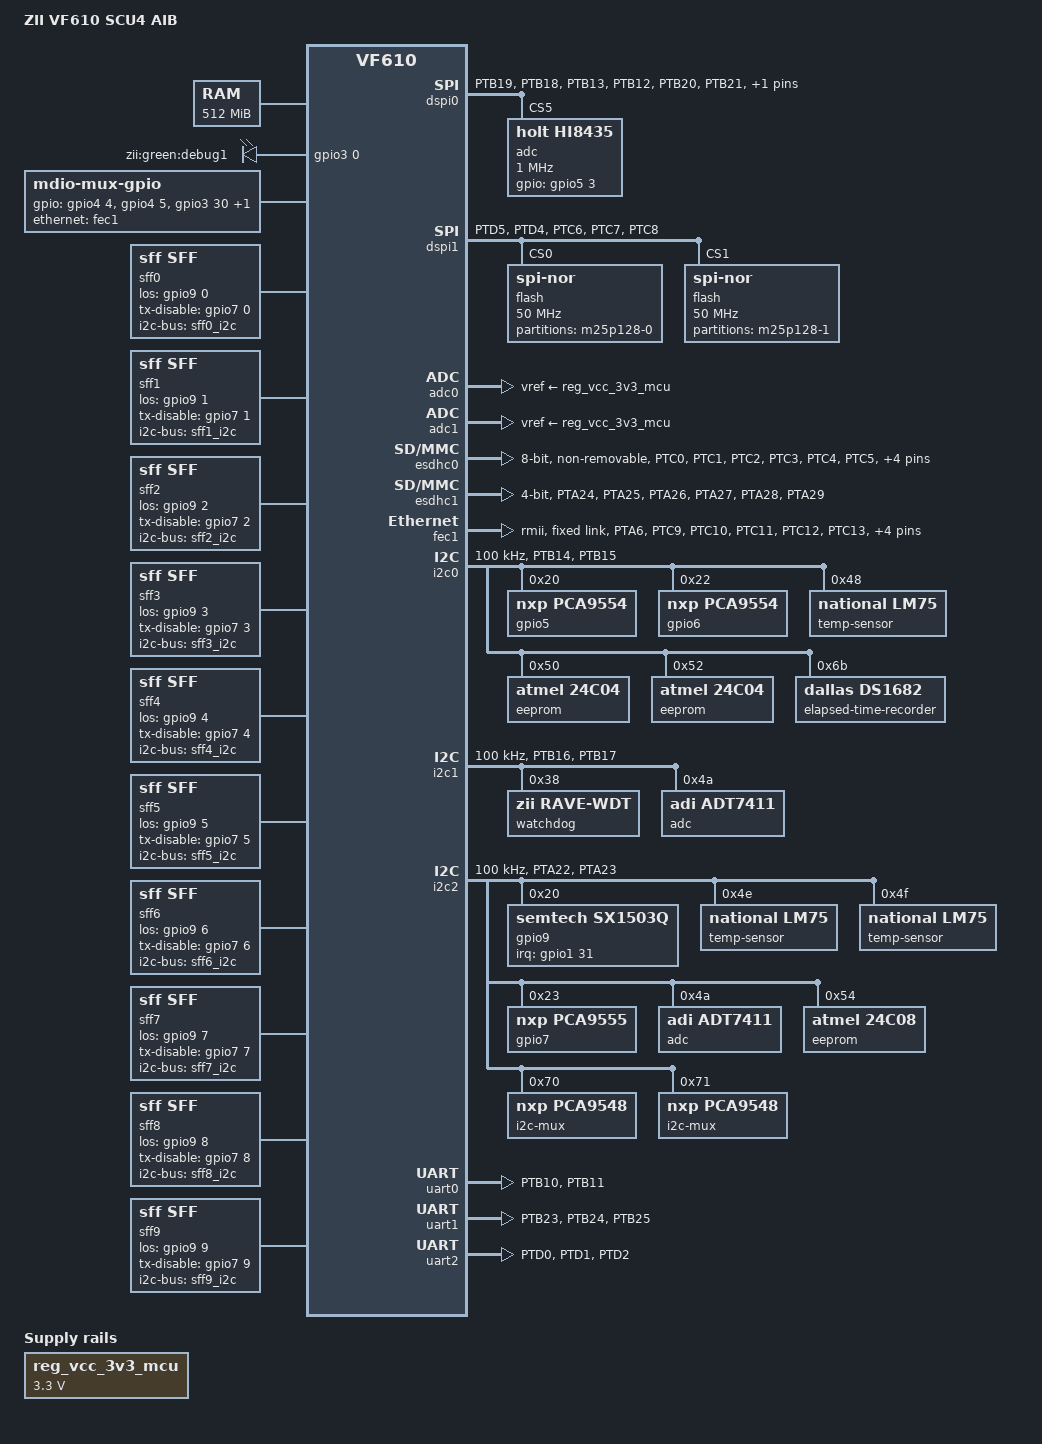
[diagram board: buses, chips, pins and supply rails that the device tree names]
// SPDX-License-Identifier: (GPL-2.0+ OR MIT)
//
// Copyright (C) 2016-2018 Zodiac Inflight Innovations

/dts-v1/;
#include "vf610.dtsi"

/ {
	model = "ZII VF610 SCU4 AIB";
	compatible = "zii,vf610scu4-aib", "zii,vf610dev", "fsl,vf610";

	chosen {
		stdout-path = &uart0;
	};

	memory@80000000 {
		device_type = "memory";
		reg = <0x80000000 0x20000000>;
	};

	gpio-leds {
		compatible = "gpio-leds";
		pinctrl-0 = <&pinctrl_leds_debug>;
		pinctrl-names = "default";

		led-debug {
			label = "zii:green:debug1";
			gpios = <&gpio3 0 GPIO_ACTIVE_HIGH>;
			linux,default-trigger = "heartbeat";
		};
	};

	mdio-mux {
		compatible = "mdio-mux-gpio";
		pinctrl-0 = <&pinctrl_mdio_mux>;
		pinctrl-names = "default";
		gpios = <&gpio4 4  GPIO_ACTIVE_HIGH
			 &gpio4 5  GPIO_ACTIVE_HIGH
			 &gpio3 30 GPIO_ACTIVE_HIGH
			 &gpio3 31 GPIO_ACTIVE_HIGH>;
		mdio-parent-bus = <&mdio1>;
		#address-cells = <1>;
		#size-cells = <0>;

		mdio_mux_1: mdio@1 {
			reg = <1>;
			#address-cells = <1>;
			#size-cells = <0>;

			switch0: switch0@0 {
				compatible = "marvell,mv88e6190";
				reg = <0>;
				dsa,member = <0 0>;
				eeprom-length = <65536>;

				ports {
					#address-cells = <1>;
					#size-cells = <0>;

					port@0 {
						reg = <0>;
						label = "cpu";
						ethernet = <&fec1>;

						fixed-link {
							speed = <100>;
							full-duplex;
						};
					};

					port@1 {
						reg = <1>;
						label = "aib2main_1";
					};

					port@2 {
						reg = <2>;
						label = "aib2main_2";
					};

					port@3 {
						reg = <3>;
						label = "eth_cu_1000_5";
					};

					port@4 {
						reg = <4>;
						label = "eth_cu_1000_6";
					};

					port@5 {
						reg = <5>;
						label = "eth_cu_1000_4";
					};

					port@6 {
						reg = <6>;
						label = "eth_cu_1000_7";
					};

					port@7 {
						reg = <7>;
						label = "modem_pic";

						fixed-link {
							speed = <100>;
							full-duplex;
						};
					};

					switch0port10: port@10 {
						reg = <10>;
						label = "dsa";
						phy-mode = "xgmii";
						link = <&switch1port10
							&switch3port10
							&switch2port10>;
					};
				};
			};
		};

		mdio_mux_2: mdio@2 {
			reg = <2>;
			#address-cells = <1>;
			#size-cells = <0>;

			switch1: switch1@0 {
				compatible = "marvell,mv88e6190";
				reg = <0>;
				dsa,member = <0 1>;
				eeprom-length = <65536>;

				ports {
					#address-cells = <1>;
					#size-cells = <0>;

					port@1 {
						reg = <1>;
						label = "eth_cu_1000_3";
					};

					port@2 {
						reg = <2>;
						label = "eth_cu_100_2";
					};

					port@3 {
						reg = <3>;
						label = "eth_cu_100_3";
					};

					switch1port9: port@9 {
						reg = <9>;
						label = "dsa";
						phy-mode = "xgmii";
						link = <&switch3port10
							&switch2port10>;
					};

					switch1port10: port@10 {
						reg = <10>;
						label = "dsa";
						phy-mode = "xgmii";
						link = <&switch0port10>;
					};
				};
			};
		};

		mdio_mux_4: mdio@4 {
			reg = <4>;
			#address-cells = <1>;
			#size-cells = <0>;

			switch2: switch2@0 {
				compatible = "marvell,mv88e6190";
				reg = <0>;
				dsa,member = <0 2>;
				eeprom-length = <65536>;

				ports {
					#address-cells = <1>;
					#size-cells = <0>;

					port@2 {
						reg = <2>;
						label = "eth_fc_1000_2";
						phy-mode = "1000base-x";
						managed = "in-band-status";
						sfp = <&sff1>;
					};

					port@3 {
						reg = <3>;
						label = "eth_fc_1000_3";
						phy-mode = "1000base-x";
						managed = "in-band-status";
						sfp = <&sff2>;
					};

					port@4 {
						reg = <4>;
						label = "eth_fc_1000_4";
						phy-mode = "1000base-x";
						managed = "in-band-status";
						sfp = <&sff3>;
					};

					port@5 {
						reg = <5>;
						label = "eth_fc_1000_5";
						phy-mode = "1000base-x";
						managed = "in-band-status";
						sfp = <&sff4>;
					};

					port@6 {
						reg = <6>;
						label = "eth_fc_1000_6";
						phy-mode = "1000base-x";
						managed = "in-band-status";
						sfp = <&sff5>;
					};

					port@7 {
						reg = <7>;
						label = "eth_fc_1000_7";
						phy-mode = "1000base-x";
						managed = "in-band-status";
						sfp = <&sff6>;
					};

					port@9 {
						reg = <9>;
						label = "eth_fc_1000_1";
						phy-mode = "1000base-x";
						managed = "in-band-status";
						sfp = <&sff0>;
					};

					switch2port10: port@10 {
						reg = <10>;
						label = "dsa";
						phy-mode = "2500base-x";
						link = <&switch3port9
							&switch1port9
							&switch0port10>;
					};
				};
			};
		};

		mdio_mux_8: mdio@8 {
			reg = <8>;
			#address-cells = <1>;
			#size-cells = <0>;

			switch3: switch3@0 {
				compatible = "marvell,mv88e6190";
				reg = <0>;
				dsa,member = <0 3>;
				eeprom-length = <65536>;

				ports {
					#address-cells = <1>;
					#size-cells = <0>;

					port@2 {
						reg = <2>;
						label = "eth_fc_1000_8";
						phy-mode = "1000base-x";
						managed = "in-band-status";
						sfp = <&sff7>;
					};

					port@3 {
						reg = <3>;
						label = "eth_fc_1000_9";
						phy-mode = "1000base-x";
						managed = "in-band-status";
						sfp = <&sff8>;
					};

					port@4 {
						reg = <4>;
						label = "eth_fc_1000_10";
						phy-mode = "1000base-x";
						managed = "in-band-status";
						sfp = <&sff9>;
					};

					switch3port9: port@9 {
						reg = <9>;
						label = "dsa";
						phy-mode = "2500base-x";
						link = <&switch2port10>;
					};

					switch3port10: port@10 {
						reg = <10>;
						label = "dsa";
						phy-mode = "xgmii";
						link = <&switch1port9
							&switch0port10>;
					};
				};
			};
		};
	};

	sff0: sff0 {
		compatible = "sff,sff";
		i2c-bus = <&sff0_i2c>;
		los-gpios = <&gpio9 0 GPIO_ACTIVE_HIGH>;
		tx-disable-gpios = <&gpio7 0 GPIO_ACTIVE_HIGH>;
	};

	sff1: sff1 {
		compatible = "sff,sff";
		i2c-bus = <&sff1_i2c>;
		los-gpios = <&gpio9 1 GPIO_ACTIVE_HIGH>;
		tx-disable-gpios = <&gpio7 1 GPIO_ACTIVE_HIGH>;
	};

	sff2: sff2 {
		compatible = "sff,sff";
		i2c-bus = <&sff2_i2c>;
		los-gpios = <&gpio9 2 GPIO_ACTIVE_HIGH>;
		tx-disable-gpios = <&gpio7 2 GPIO_ACTIVE_HIGH>;
	};

	sff3: sff3 {
		compatible = "sff,sff";
		i2c-bus = <&sff3_i2c>;
		los-gpios = <&gpio9 3 GPIO_ACTIVE_HIGH>;
		tx-disable-gpios = <&gpio7 3 GPIO_ACTIVE_HIGH>;
	};

	sff4: sff4 {
		compatible = "sff,sff";
		i2c-bus = <&sff4_i2c>;
		los-gpios = <&gpio9 4 GPIO_ACTIVE_HIGH>;
		tx-disable-gpios = <&gpio7 4 GPIO_ACTIVE_HIGH>;
	};

	sff5: sff5 {
		compatible = "sff,sff";
		i2c-bus = <&sff5_i2c>;
		los-gpios = <&gpio9 5 GPIO_ACTIVE_HIGH>;
		tx-disable-gpios = <&gpio7 5 GPIO_ACTIVE_HIGH>;
	};

	sff6: sff6 {
		compatible = "sff,sff";
		i2c-bus = <&sff6_i2c>;
		los-gpios = <&gpio9 6 GPIO_ACTIVE_HIGH>;
		tx-disable-gpios = <&gpio7 6 GPIO_ACTIVE_HIGH>;
	};

	sff7: sff7 {
		compatible = "sff,sff";
		i2c-bus = <&sff7_i2c>;
		los-gpios = <&gpio9 7 GPIO_ACTIVE_HIGH>;
		tx-disable-gpios = <&gpio7 7 GPIO_ACTIVE_HIGH>;
	};

	sff8: sff8 {
		compatible = "sff,sff";
		i2c-bus = <&sff8_i2c>;
		los-gpios = <&gpio9 8 GPIO_ACTIVE_HIGH>;
		tx-disable-gpios = <&gpio7 8 GPIO_ACTIVE_HIGH>;
	};

	sff9: sff9 {
		compatible = "sff,sff";
		i2c-bus = <&sff9_i2c>;
		los-gpios = <&gpio9 9 GPIO_ACTIVE_HIGH>;
		tx-disable-gpios = <&gpio7 9 GPIO_ACTIVE_HIGH>;
	};

	reg_vcc_3v3_mcu: regulator-vcc-3v3-mcu {
		compatible = "regulator-fixed";
		regulator-name = "vcc_3v3_mcu";
		regulator-min-microvolt = <3300000>;
		regulator-max-microvolt = <3300000>;
	};
};

&dspi0 {
	pinctrl-0 = <&pinctrl_dspi0>;
	pinctrl-names = "default";
	bus-num = <0>;
	status = "okay";

	adc@5 {
		compatible = "holt,hi8435";
		reg = <5>;
		gpios = <&gpio5 3 GPIO_ACTIVE_HIGH>;
		spi-max-frequency = <1000000>;
	};
};

&dspi1 {
	bus-num = <1>;
	pinctrl-names = "default";
	pinctrl-0 = <&pinctrl_dspi1>;
	status = "okay";

	flash@0 {
		#address-cells = <1>;
		#size-cells = <1>;
		compatible = "jedec,spi-nor";
		reg = <0>;
		spi-max-frequency = <50000000>;

		partition@0 {
			label = "m25p128-0";
			reg = <0x0 0x01000000>;
		};
	};

	flash@1 {
		#address-cells = <1>;
		#size-cells = <1>;
		compatible = "jedec,spi-nor";
		reg = <1>;
		spi-max-frequency = <50000000>;

		partition@0 {
			label = "m25p128-1";
			reg = <0x0 0x01000000>;
		};
	};
};

&adc0 {
	vref-supply = <&reg_vcc_3v3_mcu>;
	status = "okay";
};

&adc1 {
	vref-supply = <&reg_vcc_3v3_mcu>;
	status = "okay";
};

&edma0 {
	status = "okay";
};

&edma1 {
	status = "okay";
};

&esdhc0 {
	pinctrl-names = "default";
	pinctrl-0 = <&pinctrl_esdhc0>;
	bus-width = <8>;
	non-removable;
	no-1-8-v;
	no-sd;
	no-sdio;
	keep-power-in-suspend;
	status = "okay";
};

&esdhc1 {
	pinctrl-names = "default";
	pinctrl-0 = <&pinctrl_esdhc1>;
	bus-width = <4>;
	no-sdio;
	status = "okay";
};

&fec1 {
	phy-mode = "rmii";
	pinctrl-names = "default";
	pinctrl-0 = <&pinctrl_fec1>;
	status = "okay";

	fixed-link {
		   speed = <100>;
		   full-duplex;
	};

	mdio1: mdio {
		#address-cells = <1>;
		#size-cells = <0>;
	};
};

&i2c0 {
	clock-frequency = <100000>;
	pinctrl-names = "default";
	pinctrl-0 = <&pinctrl_i2c0>;
	status = "okay";

	gpio5: io-expander@20 {
		compatible = "nxp,pca9554";
		reg = <0x20>;
		gpio-controller;
		#gpio-cells = <2>;
	};

	gpio6: io-expander@22 {
		compatible = "nxp,pca9554";
		reg = <0x22>;
		gpio-controller;
		#gpio-cells = <2>;
	};

	temp-sensor@48 {
		compatible = "national,lm75";
		reg = <0x48>;
	};

	eeprom@50 {
		compatible = "atmel,24c04";
		reg = <0x50>;
	};

	eeprom@52 {
		compatible = "atmel,24c04";
		reg = <0x52>;
	};

	elapsed-time-recorder@6b {
		compatible = "dallas,ds1682";
		reg = <0x6b>;
	};
};

&i2c1 {
	clock-frequency = <100000>;
	pinctrl-names = "default";
	pinctrl-0 = <&pinctrl_i2c1>;
	status = "okay";

	watchdog@38 {
		compatible = "zii,rave-wdt";
		reg = <0x38>;
	};

	adc@4a {
		compatible = "adi,adt7411";
		reg = <0x4a>;
	};
};

&i2c2 {
	clock-frequency = <100000>;
	pinctrl-names = "default";
	pinctrl-0 = <&pinctrl_i2c2>;
	status = "okay";

	gpio9: io-expander@20 {
		compatible = "semtech,sx1503q";
		pinctrl-names = "default";
		pinctrl-0 = <&pinctrl_sx1503_20>;
		#gpio-cells = <2>;
		reg = <0x20>;
		gpio-controller;
		interrupt-parent = <&gpio1>;
		interrupts = <31 IRQ_TYPE_EDGE_FALLING>;
	};

	temp-sensor@4e {
		compatible = "national,lm75";
		reg = <0x4e>;
	};

	temp-sensor@4f {
		compatible = "national,lm75";
		reg = <0x4f>;
	};

	gpio7: io-expander@23 {
		compatible = "nxp,pca9555";
		gpio-controller;
		#gpio-cells = <2>;
		reg = <0x23>;
	};

	adc@4a {
		compatible = "adi,adt7411";
		reg = <0x4a>;
	};

	eeprom@54 {
		compatible = "atmel,24c08";
		reg = <0x54>;
	};

	i2c-mux@70 {
		compatible = "nxp,pca9548";
		pinctrl-names = "default";
		#address-cells = <1>;
		#size-cells = <0>;
		reg = <0x70>;
		i2c-mux-idle-disconnect;

		sff0_i2c: i2c@1 {
			#address-cells = <1>;
			#size-cells = <0>;
			reg = <1>;
		};

		sff1_i2c: i2c@2 {
			#address-cells = <1>;
			#size-cells = <0>;
			reg = <2>;
		};

		sff2_i2c: i2c@3 {
			#address-cells = <1>;
			#size-cells = <0>;
			reg = <3>;
		};

		sff3_i2c: i2c@4 {
			#address-cells = <1>;
			#size-cells = <0>;
			reg = <4>;
		};

		sff4_i2c: i2c@5 {
			#address-cells = <1>;
			#size-cells = <0>;
			reg = <5>;
		};
	};

	i2c-mux@71 {
		compatible = "nxp,pca9548";
		pinctrl-names = "default";
		reg = <0x71>;
		#address-cells = <1>;
		#size-cells = <0>;
		i2c-mux-idle-disconnect;

		sff5_i2c: i2c@1 {
			#address-cells = <1>;
			#size-cells = <0>;
			reg = <1>;
		};

		sff6_i2c: i2c@2 {
			#address-cells = <1>;
			#size-cells = <0>;
			reg = <2>;
		};

		sff7_i2c: i2c@3 {
			#address-cells = <1>;
			#size-cells = <0>;
			reg = <3>;
		};

		sff8_i2c: i2c@4 {
			#address-cells = <1>;
			#size-cells = <0>;
			reg = <4>;
		};

		sff9_i2c: i2c@5 {
			#address-cells = <1>;
			#size-cells = <0>;
			reg = <5>;
		};
	};
};

&snvsrtc {
	status = "disabled";
};

&uart0 {
	pinctrl-names = "default";
	pinctrl-0 = <&pinctrl_uart0>;
	status = "okay";
};

&uart1 {
	linux,rs485-enabled-at-boot-time;
	pinctrl-names = "default";
	pinctrl-0 = <&pinctrl_uart1>;
	status = "okay";
};

&uart2 {
	linux,rs485-enabled-at-boot-time;
	pinctrl-names = "default";
	pinctrl-0 = <&pinctrl_uart2>;
	status = "okay";
};

&iomuxc {
	pinctrl_dspi0: dspi0grp {
		fsl,pins = <
			VF610_PAD_PTB19__DSPI0_CS0		0x1182
			VF610_PAD_PTB18__DSPI0_CS1		0x1182
			VF610_PAD_PTB13__DSPI0_CS4		0x1182
			VF610_PAD_PTB12__DSPI0_CS5		0x1182
			VF610_PAD_PTB20__DSPI0_SIN		0x1181
			VF610_PAD_PTB21__DSPI0_SOUT		0x1182
			VF610_PAD_PTB22__DSPI0_SCK		0x1182
		>;
	};

	pinctrl_dspi1: dspi1grp {
		fsl,pins = <
			VF610_PAD_PTD5__DSPI1_CS0		0x1182
			VF610_PAD_PTD4__DSPI1_CS1		0x1182
			VF610_PAD_PTC6__DSPI1_SIN		0x1181
			VF610_PAD_PTC7__DSPI1_SOUT		0x1182
			VF610_PAD_PTC8__DSPI1_SCK		0x1182
		>;
	};

	pinctrl_dspi2: dspi2gpio {
		fsl,pins = <
			VF610_PAD_PTD30__GPIO_64		0x33e2
			VF610_PAD_PTD29__GPIO_65		0x33e1
			VF610_PAD_PTD28__GPIO_66		0x33e2
			VF610_PAD_PTD27__GPIO_67		0x33e2
			VF610_PAD_PTD26__GPIO_68		0x31c2
		>;
	};

	pinctrl_esdhc0: esdhc0grp {
		fsl,pins = <
			VF610_PAD_PTC0__ESDHC0_CLK		0x31ef
			VF610_PAD_PTC1__ESDHC0_CMD		0x31ef
			VF610_PAD_PTC2__ESDHC0_DAT0		0x31ef
			VF610_PAD_PTC3__ESDHC0_DAT1		0x31ef
			VF610_PAD_PTC4__ESDHC0_DAT2		0x31ef
			VF610_PAD_PTC5__ESDHC0_DAT3		0x31ef
			VF610_PAD_PTD23__ESDHC0_DAT4		0x31ef
			VF610_PAD_PTD22__ESDHC0_DAT5		0x31ef
			VF610_PAD_PTD21__ESDHC0_DAT6		0x31ef
			VF610_PAD_PTD20__ESDHC0_DAT7		0x31ef
		>;
	};

	pinctrl_esdhc1: esdhc1grp {
		fsl,pins = <
			VF610_PAD_PTA24__ESDHC1_CLK		0x31ef
			VF610_PAD_PTA25__ESDHC1_CMD		0x31ef
			VF610_PAD_PTA26__ESDHC1_DAT0		0x31ef
			VF610_PAD_PTA27__ESDHC1_DAT1		0x31ef
			VF610_PAD_PTA28__ESDHC1_DATA2		0x31ef
			VF610_PAD_PTA29__ESDHC1_DAT3		0x31ef
		>;
	};

	pinctrl_fec1: fec1grp {
		fsl,pins = <
			VF610_PAD_PTA6__RMII_CLKIN		0x30d1
			VF610_PAD_PTC9__ENET_RMII1_MDC		0x30d2
			VF610_PAD_PTC10__ENET_RMII1_MDIO	0x30d3
			VF610_PAD_PTC11__ENET_RMII1_CRS		0x30d1
			VF610_PAD_PTC12__ENET_RMII1_RXD1	0x30d1
			VF610_PAD_PTC13__ENET_RMII1_RXD0	0x30d1
			VF610_PAD_PTC14__ENET_RMII1_RXER	0x30d1
			VF610_PAD_PTC15__ENET_RMII1_TXD1	0x30d2
			VF610_PAD_PTC16__ENET_RMII1_TXD0	0x30d2
			VF610_PAD_PTC17__ENET_RMII1_TXEN	0x30d2
		>;
	};

	pinctrl_i2c0: i2c0grp {
		fsl,pins = <
			VF610_PAD_PTB14__I2C0_SCL		0x37ff
			VF610_PAD_PTB15__I2C0_SDA		0x37ff
		>;
	};

	pinctrl_i2c1: i2c1grp {
		fsl,pins = <
			VF610_PAD_PTB16__I2C1_SCL		0x37ff
			VF610_PAD_PTB17__I2C1_SDA		0x37ff
		>;
	};

	pinctrl_i2c2: i2c2grp {
		fsl,pins = <
			VF610_PAD_PTA22__I2C2_SCL		0x37ff
			VF610_PAD_PTA23__I2C2_SDA		0x37ff
		>;
	};

	pinctrl_leds_debug: pinctrl-leds-debug {
		fsl,pins = <
			 VF610_PAD_PTB26__GPIO_96		0x31c2
		   >;
	};

	pinctrl_mdio_mux: pinctrl-mdio-mux {
		fsl,pins = <
			VF610_PAD_PTE27__GPIO_132		0x31c2
			VF610_PAD_PTE28__GPIO_133		0x31c2
			VF610_PAD_PTE21__GPIO_126		0x31c2
			VF610_PAD_PTE22__GPIO_127		0x31c2
		>;
	};

	pinctrl_qspi0: qspi0grp {
		fsl,pins = <
			VF610_PAD_PTD7__QSPI0_B_QSCK		0x31c3
			VF610_PAD_PTD8__QSPI0_B_CS0		0x31ff
			VF610_PAD_PTD9__QSPI0_B_DATA3		0x31c3
			VF610_PAD_PTD10__QSPI0_B_DATA2		0x31c3
			VF610_PAD_PTD11__QSPI0_B_DATA1		0x31c3
			VF610_PAD_PTD12__QSPI0_B_DATA0		0x31c3
		>;
	};

	pinctrl_sx1503_20: pinctrl-sx1503-20 {
		fsl,pins = <
			VF610_PAD_PTD31__GPIO_63		0x219d
			>;
	};

	pinctrl_uart0: uart0grp {
		fsl,pins = <
			VF610_PAD_PTB10__UART0_TX		0x21a2
			VF610_PAD_PTB11__UART0_RX		0x21a1
		>;
	};

	pinctrl_uart1: uart1grp {
		fsl,pins = <
			VF610_PAD_PTB23__UART1_TX		0x21a2
			VF610_PAD_PTB24__UART1_RX		0x21a1
			VF610_PAD_PTB25__UART1_RTS		0x21a2	/* Used as DE signal for the RS-485 transceiver */
		>;
	};

	pinctrl_uart2: uart2grp {
		fsl,pins = <
			VF610_PAD_PTD0__UART2_TX		0x21a2
			VF610_PAD_PTD1__UART2_RX		0x21a1
			VF610_PAD_PTD2__UART2_RTS		0x21a2 /* Used as DE signal for the RS-485 transceiver */
		>;
	};
};
